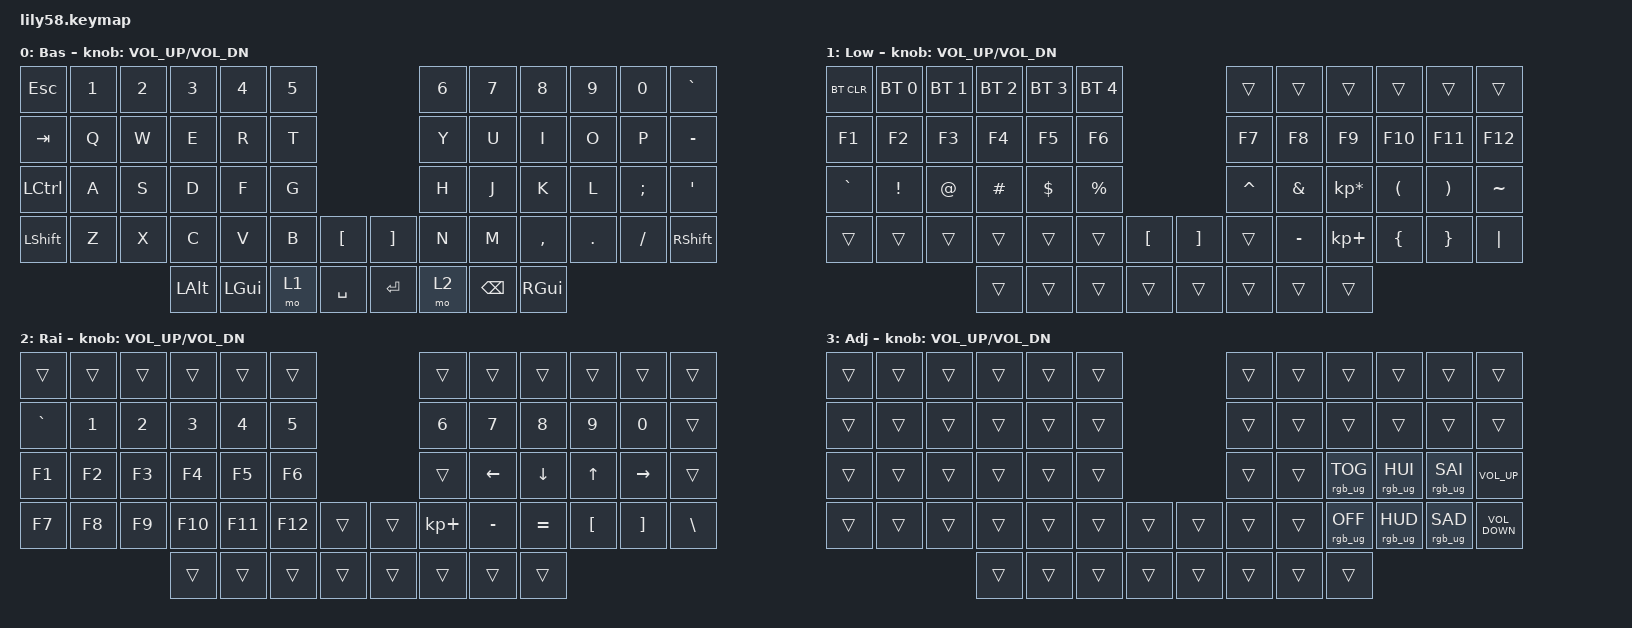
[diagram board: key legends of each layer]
/*
 * Copyright (c) 2020 The ZMK Contributors
 *
 * SPDX-License-Identifier: MIT
 */

#include <behaviors.dtsi>
#include <dt-bindings/zmk/bt.h>
#include <dt-bindings/zmk/keys.h>
#include <dt-bindings/zmk/rgb.h>

/ {
    keymap {
        compatible = "zmk,keymap";

        default_layer {
            // ------------------------------------------------------------------------------------------------------------
            // |  ESC  |  1  |  2  |  3   |  4   |  5   |                   |  6   |  7    |  8    |  9   |   0   |   `   |
            // |  TAB  |  Q  |  W  |  E   |  R   |  T   |                   |  Y   |  U    |  I    |  O   |   P   |   -   |
            // |  CTRL |  A  |  S  |  D   |  F   |  G   |                   |  H   |  J    |  K    |  L   |   ;   |   '   |
            // | SHIFT |  Z  |  X  |  C   |  V   |  B   |   "["  |  |  "]"  |  N   |  M    |  ,    |  .   |   /   | SHIFT |
            //                     | ALT  | GUI  | LOWER|  SPACE |  | ENTER | RAISE| BSPC  | GUI   |

            display-name = "Bas";
            bindings = <
&kp ESC    &kp N1  &kp N2  &kp N3    &kp N4    &kp N5                         &kp N6  &kp N7    &kp N8     &kp N9   &kp N0    &kp GRAVE
&kp TAB    &kp Q   &kp W   &kp E     &kp R     &kp T                          &kp Y   &kp U     &kp I      &kp O    &kp P     &kp MINUS
&kp LCTRL  &kp A   &kp S   &kp D     &kp F     &kp G                          &kp H   &kp J     &kp K      &kp L    &kp SEMI  &kp SQT
&kp LSHFT  &kp Z   &kp X   &kp C     &kp V     &kp B   &kp LBKT     &kp RBKT  &kp N   &kp M     &kp COMMA  &kp DOT  &kp FSLH  &kp RSHFT
                           &kp LALT  &kp LGUI  &mo 1   &kp SPACE    &kp RET   &mo 2   &kp BSPC  &kp RGUI
            >;

            sensor-bindings = <&inc_dec_kp C_VOL_UP C_VOL_DN>;
        };

        lower_layer {
            // ------------------------------------------------------------------------------------------------------------
            // | BTCLR | BT1 | BT2 |  BT3 |  BT4 |  BT5 |                   |      |       |       |      |       |       |
            // |  F1   |  F2 |  F3 |  F4  |  F5  |  F6  |                   |  F7  |  F8   |  F9   |  F10 |  F11  |  F12  |
            // |   `   |  !  |  @  |  #   |  $   |  %   |                   |  ^   |  &    |  *    |  (   |   )   |   ~   |
            // |       |     |     |      |      |      |        |  |       |      |  _    |  +    |  {   |   }   |  "|"  |
            //                     |      |      |      |        |  |       |      |       |       |

            display-name = "Low";
            bindings = <
&bt BT_CLR  &bt BT_SEL 0  &bt BT_SEL 1  &bt BT_SEL 2  &bt BT_SEL 3  &bt BT_SEL 4                                         &trans     &trans     &trans           &trans    &trans    &trans
&kp F1      &kp F2        &kp F3        &kp F4        &kp F5        &kp F6                                               &kp F7     &kp F8     &kp F9           &kp F10   &kp F11   &kp F12
&kp GRAVE   &kp EXCL      &kp AT        &kp HASH      &kp DOLLAR    &kp PRCNT                                            &kp CARET  &kp AMPS   &kp KP_MULTIPLY  &kp LPAR  &kp RPAR  &kp TILDE
&trans      &trans        &trans        &trans        &trans        &trans        &kp LEFT_BRACKET    &kp RIGHT_BRACKET  &trans     &kp MINUS  &kp KP_PLUS      &kp LBRC  &kp RBRC  &kp PIPE
                                        &trans        &trans        &trans        &trans              &trans             &trans     &trans     &trans
            >;

            sensor-bindings = <&inc_dec_kp C_VOL_UP C_VOL_DN>;
        };

        raise_layer {
            // ------------------------------------------------------------------------------------------------------------
            // |       |     |     |      |      |      |                   |      |       |       |      |       |       |
            // |   `   |  1  |  2  |  3   |  4   |  5   |                   |  6   |   7   |   8   |  9   |   0   |       |
            // |   F1  |  F2 |  F3 |  F4  |  F5  |  F6  |                   |      |   <-  |   v   |  ^   |  ->   |       |
            // |   F7  |  F8 |  F9 |  F10 |  F11 |  F12 |        |  |       |  +   |   -   |   =   |  [   |   ]   |   \   |
            //                     |      |      |      |        |  |       |      |       |       |

            display-name = "Rai";
            bindings = <
&trans     &trans  &trans  &trans   &trans   &trans                     &trans       &trans     &trans     &trans    &trans     &trans
&kp GRAVE  &kp N1  &kp N2  &kp N3   &kp N4   &kp N5                     &kp N6       &kp N7     &kp N8     &kp N9    &kp N0     &trans
&kp F1     &kp F2  &kp F3  &kp F4   &kp F5   &kp F6                     &trans       &kp LEFT   &kp DOWN   &kp UP    &kp RIGHT  &trans
&kp F7     &kp F8  &kp F9  &kp F10  &kp F11  &kp F12  &trans    &trans  &kp KP_PLUS  &kp MINUS  &kp EQUAL  &kp LBKT  &kp RBKT   &kp BSLH
                           &trans   &trans   &trans   &trans    &trans  &trans       &trans     &trans
            >;

            sensor-bindings = <&inc_dec_kp C_VOL_UP C_VOL_DN>;
        };

        adjust_layer {
            display-name = "Adj";
            bindings = <
&trans  &trans  &trans  &trans  &trans  &trans                    &trans  &trans  &trans           &trans           &trans           &trans
&trans  &trans  &trans  &trans  &trans  &trans                    &trans  &trans  &trans           &trans           &trans           &trans
&trans  &trans  &trans  &trans  &trans  &trans                    &trans  &trans  &rgb_ug RGB_TOG  &rgb_ug RGB_HUI  &rgb_ug RGB_SAI  &kp C_VOLUME_UP
&trans  &trans  &trans  &trans  &trans  &trans  &trans    &trans  &trans  &trans  &rgb_ug RGB_OFF  &rgb_ug RGB_HUD  &rgb_ug RGB_SAD  &kp K_VOLUME_DOWN
                        &trans  &trans  &trans  &trans    &trans  &trans  &trans  &trans
            >;

            sensor-bindings = <&inc_dec_kp C_VOL_UP C_VOL_DN>;
        };

        extra_2 { status = "reserved"; };

        extra_3 { status = "reserved"; };
    };

    conditional_layers {
        compatible = "zmk,conditional-layers";

        adjust {
            if-layers = <1 2>;
            then-layer = <3>;
        };
    };
};
